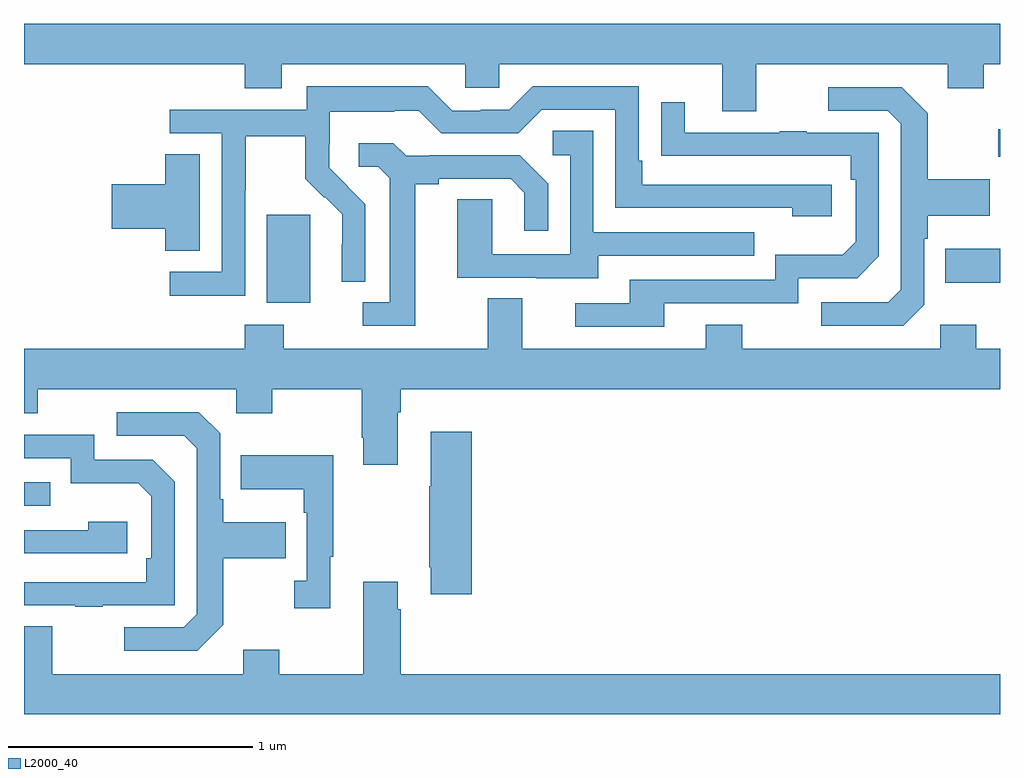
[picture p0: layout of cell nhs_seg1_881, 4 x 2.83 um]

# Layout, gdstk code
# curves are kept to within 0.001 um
import gdstk
lib = gdstk.Library(unit=1e-6, precision=1e-09)
def R(c, l, rs):  # rectangles x0, y0, x1, y1
    for r in rs: c.add(gdstk.rectangle(r[:2], r[2:], *l))
def P(c, l, *ps):  # polygons
    for p in ps: c.add(gdstk.Polygon(p, *l))
L2000_40 = (2000, 40)

nhs_seg1_881 = lib.new_cell('nhs_seg1_881')
R(nhs_seg1_881, L2000_40, [(159,523.281,159.107,523.377), (159.995,524.114,160.174,524.475), (162.775,524.195,163,524.335), (162.993,524.711,163,524.824)])
P(nhs_seg1_881, L2000_40, [(162.001,525.092),(162.785,525.092),(162.785,524.993),(162.933,524.993),(162.933,525.092),(163,525.092),(163,525.256),(159,525.256),(159,525.092),(159.905,525.092),(159.905,524.993),(160.057,524.993),(160.057,525.092),(160.809,525.092),(160.809,524.994),(160.947,524.994),(160.947,525.092),(161.861,525.092),(161.861,524.898),(162.001,524.898)],
  [(159.906,524.572),(159.909,524.572),(159.909,524.796),(160.153,524.796),(160.153,524.621),(160.23,524.544),(160.233,524.547),(160.304,524.477),(160.304,524.354),(160.302,524.354),(160.302,524.2),(160.398,524.2),(160.398,524.518),(160.252,524.666),(160.252,524.763),(160.254,524.763),(160.254,524.897),(160.517,524.897),(160.517,524.901),(160.617,524.901),(160.71,524.808),(161.025,524.808),(161.121,524.904),(161.424,524.904),(161.424,524.502),(162.149,524.502),(162.149,524.468),(162.31,524.468),(162.31,524.598),(161.533,524.598),(161.533,524.695),(161.52,524.695),(161.52,525),(161.085,525),(160.989,524.904),(160.871,524.904),(160.871,524.901),(160.755,524.901),(160.655,525.001),(160.158,525.001),(160.158,524.904),(159.597,524.904),(159.597,524.808),(159.81,524.808),(159.81,524.241),(159.597,524.241),(159.597,524.143),(159.906,524.143)],
  [(162.69,524.106),(162.69,524.375),(162.703,524.375),(162.703,524.471),(162.959,524.471),(162.959,524.619),(162.703,524.619),(162.703,524.891),(162.597,524.997),(162.297,524.997),(162.297,524.901),(162.54,524.901),(162.594,524.847),(162.594,524.166),(162.543,524.115),(162.267,524.115),(162.267,524.019),(162.603,524.019)],
  [(161.623,524.112),(162.174,524.112),(162.174,524.214),(162.414,524.214),(162.504,524.304),(162.504,524.811),(162.209,524.811),(162.209,524.816),(162.097,524.816),(162.097,524.811),(161.707,524.811),(161.707,524.935),(161.611,524.935),(161.611,524.716),(162.388,524.715),(162.388,524.618),(162.408,524.618),(162.408,524.364),(162.355,524.311),(162.078,524.311),(162.078,524.208),(161.483,524.208),(161.483,524.112),(161.259,524.112),(161.259,524.016),(161.623,524.016)],
  [(161.353,524.307),(161.993,524.307),(161.993,524.403),(161.334,524.403),(161.334,524.819),(161.166,524.819),(161.166,524.718),(161.238,524.718),(161.238,524.313),(160.92,524.313),(160.92,524.537),(160.775,524.537),(160.775,524.217),(161.099,524.217),(161.099,524.213),(161.353,524.213)],
  [(160.603,524.6),(160.699,524.6),(160.699,524.622),(160.994,524.622),(161.051,524.565),(161.051,524.409),(161.148,524.409),(161.148,524.602),(161.032,524.718),(160.66,524.718),(160.66,524.715),(160.566,524.715),(160.514,524.767),(160.371,524.767),(160.371,524.67),(160.452,524.67),(160.499,524.623),(160.499,524.115),(160.389,524.115),(160.389,524.019),(160.603,524.019)],
  [(159.721,524.723),(159.578,524.723),(159.578,524.6),(159.36,524.6),(159.36,524.417),(159.578,524.417),(159.578,524.326),(159.721,524.326)],
  [(160.531,523.664),(160.544,523.664),(160.544,523.76),(163,523.76),(163,523.924),(162.903,523.924),(162.903,524.023),(162.756,524.023),(162.756,523.924),(161.943,523.924),(161.943,524.023),(161.795,524.023),(161.795,523.924),(161.041,523.924),(161.041,524.132),(160.901,524.132),(160.901,523.924),(160.065,523.924),(160.065,524.023),(159.905,524.023),(159.905,523.924),(159,523.924),(159,523.661),(159.057,523.661),(159.057,523.76),(159.87,523.76),(159.87,523.661),(160.017,523.661),(160.017,523.76),(160.384,523.76),(160.384,523.561),(160.391,523.561),(160.391,523.449),(160.531,523.449)],
  [(159.817,522.793),(159.817,523.066),(160.073,523.066),(160.073,523.213),(159.817,523.213),(159.817,523.309),(159.804,523.309),(159.804,523.578),(159.717,523.665),(159.381,523.665),(159.381,523.569),(159.657,523.569),(159.708,523.518),(159.708,522.837),(159.654,522.783),(159.411,522.783),(159.411,522.687),(159.711,522.687)],
  [(160.835,523.585),(160.667,523.585),(160.667,523.361),(160.66,523.361),(160.66,523.03),(160.667,523.03),(160.667,522.918),(160.835,522.918)],
  [(159.323,522.873),(159.618,522.873),(159.618,523.38),(159.528,523.47),(159.288,523.47),(159.288,523.572),(159,523.572),(159,523.476),(159.192,523.476),(159.192,523.373),(159.469,523.373),(159.522,523.32),(159.522,523.066),(159.502,523.066),(159.502,522.969),(159,522.969),(159,522.873),(159.211,522.873),(159.211,522.868),(159.323,522.868)],
  [(160.255,523.073),(160.267,523.073),(160.267,523.489),(159.889,523.489),(159.889,523.349),(160.146,523.349),(160.146,523.253),(160.158,523.253),(160.158,522.974),(160.107,522.974),(160.107,522.861),(160.255,522.861)],
  [(159.424,523.216),(159.263,523.216),(159.263,523.182),(159,523.182),(159,523.086),(159.424,523.086)],
  [(163,522.592),(160.544,522.592),(160.544,522.857),(160.531,522.857),(160.531,522.97),(160.391,522.97),(160.391,522.592),(160.047,522.592),(160.047,522.691),(159.899,522.691),(159.899,522.592),(159.115,522.592),(159.115,522.787),(159,522.787),(159,522.428),(163,522.428)])

lib.write_gds('nhs_seg1_881.gds')
